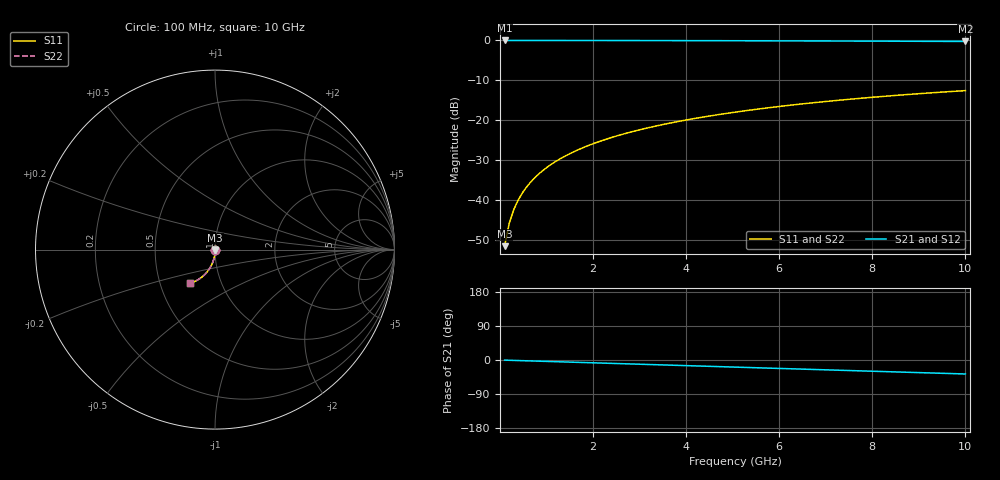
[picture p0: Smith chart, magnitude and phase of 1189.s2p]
# Hz S RI R 50.00
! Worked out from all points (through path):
!   100 points, 100 MHz to 10 GHz, reference 50 ohm
!   highest |S21| = -0.01 dB at 100 MHz (marker M1); lowest = -0.3 dB at 10 GHz (marker M2)
!   group delay of S21, straight-line fit = 10.3 ps
!   lowest |S11| = -51.6 dB at 100 MHz (marker M3), VSWR 1.01, Z = 50.1 - j0.254 ohm
!   |S11| at or under -10 dB: start of sweep to end of sweep
!   |S22| runs from -51.6 to -12.6 dB; largest |S21 - S12| = 0
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1e8  0.000664 -0.00253  0.9993 -0.00647  0.9993 -0.00647  0.000664 -0.00253
2e8  0.000615 -0.00506  0.9992 -0.0129  0.9992 -0.0129  0.000615 -0.00506
3e8  0.000532 -0.00759  0.9991 -0.0194  0.9991 -0.0194  0.000532 -0.00759
4e8  0.000416 -0.0101  0.9989 -0.0259  0.9989 -0.0259  0.000416 -0.0101
5e8  0.000267 -0.0127  0.9987 -0.0323  0.9987 -0.0323  0.000267 -0.0127
6e8  8.45e-05 -0.0152  0.9984 -0.0388  0.9984 -0.0388  8.45e-05 -0.0152
7e8  -0.000131 -0.0177  0.9981 -0.0452  0.9981 -0.0452  -0.000131 -0.0177
8e8  -0.000379 -0.0202  0.9977 -0.0517  0.9977 -0.0517  -0.000379 -0.0202
9e8  -0.000659 -0.0227  0.9973 -0.0582  0.9973 -0.0582  -0.000659 -0.0227
1.1e9  -0.00132 -0.0278  0.9963 -0.0711  0.9963 -0.0711  -0.00132 -0.0278
1.4e9  -0.00255 -0.0353  0.9945 -0.0904  0.9945 -0.0904  -0.00255 -0.0353
1.8e9  -0.00465 -0.0452  0.9914 -0.1161  0.9914 -0.1161  -0.00465 -0.0452
2.1e9  -0.00656 -0.0526  0.9886 -0.1353  0.9886 -0.1353  -0.00656 -0.0526
2.5e9  -0.00956 -0.0623  0.9841 -0.1608  0.9841 -0.1608  -0.00956 -0.0623
2.9e9  -0.013 -0.0719  0.9789 -0.1861  0.9789 -0.1861  -0.013 -0.0719
3.4e9  -0.0181 -0.0835  0.9714 -0.2175  0.9714 -0.2175  -0.0181 -0.0835
4.2e9  -0.0277 -0.1015  0.957 -0.267  0.957 -0.267  -0.0277 -0.1015
5.1e9  -0.0407 -0.1203  0.9373 -0.3214  0.9373 -0.3214  -0.0407 -0.1203
5.9e9  -0.0539 -0.1356  0.917 -0.3684  0.917 -0.3684  -0.0539 -0.1356
6.7e9  -0.0686 -0.1494  0.8941 -0.4139  0.8941 -0.4139  -0.0686 -0.1494
8.4e9  -0.1039 -0.1732  0.8378 -0.505  0.8378 -0.505  -0.1039 -0.1732
1e10  -0.1405 -0.1878  0.7763 -0.583  0.7763 -0.583  -0.1405 -0.1878
